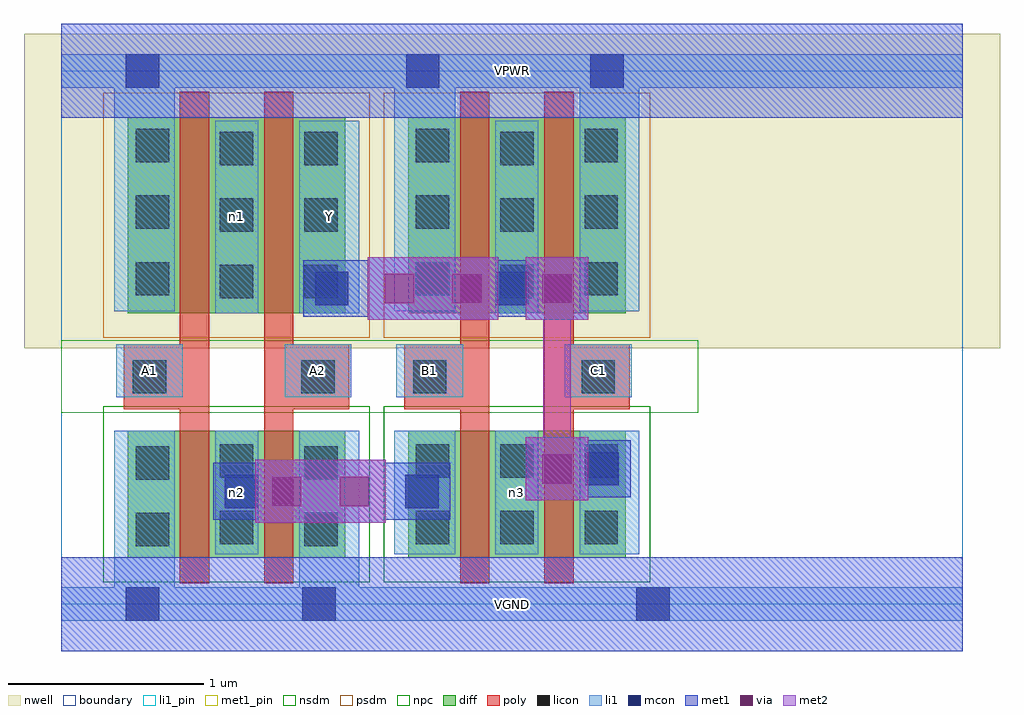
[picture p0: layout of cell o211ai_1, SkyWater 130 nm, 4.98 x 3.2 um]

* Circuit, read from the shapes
.subckt o211ai_1 A1 A2 B1 C1 VGND VPWR Y n1 n2 n3
XM1 n2 A1 VGND VSUBS sky130_fd_pr__nfet_01v8 w=0.65 l=0.15
XM2 VGND A2 n2 VSUBS sky130_fd_pr__nfet_01v8 w=0.65 l=0.15
XM3 n3 B1 n2 VSUBS sky130_fd_pr__nfet_01v8 w=0.65 l=0.15
XM4 Y C1 n3 VSUBS sky130_fd_pr__nfet_01v8 w=0.65 l=0.15
XM5 n1 A1 VPWR n4 sky130_fd_pr__pfet_01v8 w=1 l=0.15
XM6 Y A2 n1 n4 sky130_fd_pr__pfet_01v8 w=1 l=0.15
XM7 Y B1 VPWR n4 sky130_fd_pr__pfet_01v8 w=1 l=0.15
XM8 VPWR C1 Y n4 sky130_fd_pr__pfet_01v8 w=1 l=0.15
.ends

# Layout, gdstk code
import gdstk
lib = gdstk.Library(unit=1e-6, precision=1e-09)
def R(c, l, rs):  # rectangles x0, y0, x1, y1
    for r in rs: c.add(gdstk.rectangle(r[:2], r[2:], *l))
def A(c, l, x, y, w, h, nx, ny, dx, dy):  # array of equal rectangles
    R(c, l, [(x+i*dx, y+j*dy, x+i*dx+w, y+j*dy+h) for i in range(nx) for j in range(ny)])
nwell = (64, 20)
diff = (65, 20)
poly = (66, 20)
licon = (66, 44)
li1_pin = (67, 16)
li1 = (67, 20)
mcon = (67, 44)
met1_pin = (68, 16)
met1 = (68, 20)
via = (68, 44)
met2 = (69, 20)
nsdm = (93, 44)
psdm = (94, 20)
npc = (95, 20)
boundary = (235, 4)

o211ai_1 = lib.new_cell('o211ai_1')
R(o211ai_1, nwell, [(-0.19,1.305,4.79,2.91), (0,1.305,4.6,2.91)])
R(o211ai_1, diff, [(0.34,0.235,1.45,0.885), (1.77,0.235,2.88,0.885), (0.34,1.485,1.45,2.485), (1.77,1.485,2.88,2.485)])
A(o211ai_1, poly, 0.32, 0.995, 0.435, 0.33, 4, 1, 0.715, 0)
R(o211ai_1, poly, [(0.605,0.105,0.755,2.615), (1.035,0.105,1.185,2.615), (2.035,0.105,2.185,2.615), (2.465,0.105,2.615,2.615)])
A(o211ai_1, licon, 1.81, 0.305, 0.17, 0.17, 3, 2, 0.43, 0.34)
A(o211ai_1, licon, 0.81, 1.56, 0.17, 0.17, 1, 3, 0, 0.34)
A(o211ai_1, licon, 1.24, 1.56, 0.17, 0.17, 1, 3, 0, 0.34)
A(o211ai_1, licon, 2.24, 1.56, 0.17, 0.17, 1, 3, 0, 0.34)
A(o211ai_1, licon, 0.38, 1.575, 0.17, 0.17, 1, 3, 0, 0.34)
A(o211ai_1, licon, 1.81, 1.575, 0.17, 0.17, 1, 3, 0, 0.34)
A(o211ai_1, licon, 2.67, 1.575, 0.17, 0.17, 1, 3, 0, 0.34)
R(o211ai_1, licon, [(0.38,0.295,0.55,0.465), (1.24,0.295,1.41,0.465), (0.81,0.305,0.98,0.475), (0.38,0.635,0.55,0.805), (1.24,0.635,1.41,0.805), (0.81,0.645,0.98,0.815), (0.365,1.075,0.535,1.245), (1.225,1.075,1.395,1.245), (1.795,1.075,1.965,1.245), (2.655,1.075,2.825,1.245)])
R(o211ai_1, li1_pin, [(0.28,1.055,0.62,1.325), (1.14,1.055,1.48,1.325), (1.71,1.055,2.05,1.325), (2.57,1.055,2.91,1.325), (1.215,1.485,1.52,2.465)])
R(o211ai_1, li1, [(0,-0.085,4.6,0.085), (0.27,-0.085,0.58,0.885), (1.215,-0.085,1.52,0.885), (0.785,0.255,1.005,0.885), (1.7,0.255,2.01,0.885), (2.215,0.255,2.435,0.885), (2.645,0.255,2.95,0.885), (0.28,1.055,0.62,1.325), (1.14,1.055,1.48,1.325), (1.71,1.055,2.05,1.325), (2.57,1.055,2.91,1.325), (0.785,1.485,1.005,2.465), (1.215,1.485,1.52,2.465), (2.215,1.485,2.435,2.465), (0.27,1.495,0.58,2.805), (1.7,1.495,2.01,2.805), (2.645,1.495,2.95,2.805), (0,2.635,4.6,2.805)])
R(o211ai_1, mcon, [(0.33,-0.085,0.5,0.085), (1.23,-0.085,1.4,0.085), (2.935,-0.085,3.105,0.085), (0.835,0.49,1.005,0.66), (1.755,0.49,1.925,0.66), (2.675,0.605,2.845,0.775), (1.295,1.525,1.465,1.695), (2.215,1.525,2.385,1.695), (0.33,2.635,0.5,2.805), (1.76,2.635,1.93,2.805), (2.7,2.635,2.87,2.805)])
R(o211ai_1, met1_pin, [(0,-0.24,4.6,0.24), (0,2.48,4.6,2.96)])
R(o211ai_1, met1, [(0,-0.24,4.6,0.24), (0.99,0.415,1.31,0.735), (1.31,0.415,1.335,0.735), (1.335,0.415,1.655,0.735), (0.775,0.43,1.065,0.72), (1.655,0.43,1.695,0.72), (1.695,0.43,1.985,0.72), (0.85,0.505,1.22,0.645), (1.22,0.505,1.335,0.645), (1.31,0.505,1.425,0.645), (1.425,0.505,1.91,0.645), (2.37,0.53,2.69,0.85), (2.615,0.545,2.905,0.835), (2.46,0.62,2.83,0.76), (1.565,1.45,1.885,1.77), (1.885,1.45,1.91,1.77), (1.91,1.45,2.23,1.77), (2.37,1.45,2.69,1.77), (1.235,1.465,1.525,1.755), (1.525,1.465,1.565,1.755), (2.155,1.465,2.445,1.755), (1.31,1.54,1.795,1.68), (1.795,1.54,1.91,1.68), (1.885,1.54,2,1.68), (2,1.54,2.37,1.68), (2.23,1.54,2.6,1.68), (0,2.48,4.6,2.96)])
R(o211ai_1, via, [(1.075,0.5,1.225,0.65), (1.42,0.5,1.57,0.65), (2.455,0.615,2.605,0.765), (1.65,1.535,1.8,1.685), (1.995,1.535,2.145,1.685), (2.455,1.535,2.605,1.685)])
R(o211ai_1, met2, [(0.99,0.415,1.31,0.735), (1.31,0.415,1.335,0.735), (1.335,0.415,1.655,0.735), (1.08,0.505,1.565,0.645), (2.37,0.53,2.69,0.85), (2.46,0.62,2.6,1.68), (1.565,1.45,1.885,1.77), (1.885,1.45,1.91,1.77), (1.91,1.45,2.23,1.77), (2.37,1.45,2.69,1.77), (1.655,1.54,2.14,1.68)])
R(o211ai_1, nsdm, [(0.215,0.11,1.575,1.01), (1.645,0.11,3.005,1.01)])
R(o211ai_1, psdm, [(0.215,1.36,1.575,2.61), (1.645,1.36,3.005,2.61)])
R(o211ai_1, npc, [(0,0.975,3.25,1.345)])
R(o211ai_1, boundary, [(0,0,4.6,2.72)])
o211ai_1.add(gdstk.Label('A1', (0.45,1.19), layer=67, texttype=5))
o211ai_1.add(gdstk.Label('A2', (1.31,1.19), layer=67, texttype=5))
o211ai_1.add(gdstk.Label('B1', (1.88,1.19), layer=67, texttype=5))
o211ai_1.add(gdstk.Label('C1', (2.74,1.19), layer=67, texttype=5))
o211ai_1.add(gdstk.Label('Y', (1.367,1.975), layer=67, texttype=5))
o211ai_1.add(gdstk.Label('n1', (0.895,1.975), layer=67, texttype=5))
o211ai_1.add(gdstk.Label('n2', (0.895,0.57), layer=67, texttype=5))
o211ai_1.add(gdstk.Label('n3', (2.325,0.57), layer=67, texttype=5))
o211ai_1.add(gdstk.Label('VPWR', (2.3,2.72), layer=68, texttype=5))
o211ai_1.add(gdstk.Label('VGND', (2.3,0), layer=68, texttype=5))
o211ai_1.add(gdstk.Label('A1', (0.45,1.19), layer=67, texttype=16))
o211ai_1.add(gdstk.Label('A2', (1.31,1.19), layer=67, texttype=16))
o211ai_1.add(gdstk.Label('B1', (1.88,1.19), layer=67, texttype=16))
o211ai_1.add(gdstk.Label('C1', (2.74,1.19), layer=67, texttype=16))
o211ai_1.add(gdstk.Label('Y', (1.367,1.975), layer=67, texttype=16))
o211ai_1.add(gdstk.Label('VPWR', (2.3,2.72), layer=68, texttype=16))
o211ai_1.add(gdstk.Label('VGND', (2.3,0), layer=68, texttype=16))

lib.write_gds('o211ai_1.gds')
